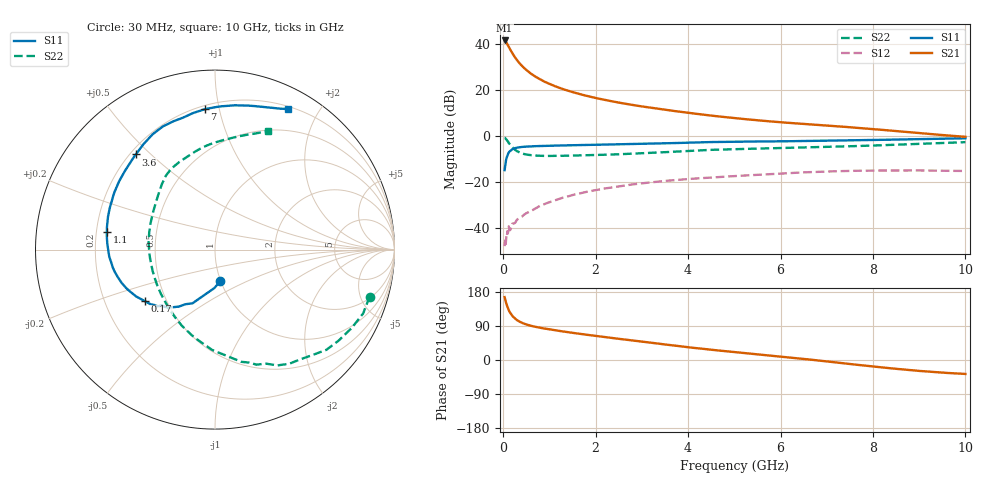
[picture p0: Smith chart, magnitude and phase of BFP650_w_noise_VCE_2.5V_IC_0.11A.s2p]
! Infineon Technologies  Discrete & RF Semiconductors
! BFP650
! VCE =  2.5 V,  IC = 0.11 A
! Common Emitter S-Parameters:  Jan 2016
# GHz  S  MA  R  50
!  f  S11  S21  S12  S22
! GHz  MAG  ANG  MAG  ANG  MAG  ANG  MAG  ANG
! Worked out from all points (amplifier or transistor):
!   229 points, 30 MHz to 10 GHz, reference 50 ohm
!   highest |S21| = 41.4 dB at 30 MHz (marker M1)
!   |S21| within 3 dB of that: start of sweep to 125.8 MHz
!   unconditionally stable (mu >= 1): 1.216 GHz to end of sweep
!   at 280 MHz: K = 0.69, MSG = 35.2 dB, |S12| = -37.0 dB
!   at 1.78 GHz: K = 1.02, MAG = 20.0 dB, |S12| = -24.5 dB
!   at 10 GHz: K = 1.03, MAG = 6.4 dB, |S12| = -15.3 dB
!   lowest NFmin = 1.51 dB at 450 MHz
!   S11 on the Smith chart (normalised r, x): 30 MHz: 1.00, -0.36; 170 MHz: 0.38, -0.28; 1.1 GHz: 0.24, +0.08; 3.6 GHz: 0.22, +0.45; 7 GHz: 0.22, +0.91; 10 GHz: 0.23, +1.62
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0.03  0.1789 -80.3  117.6 165.9  0.004 84.6  0.9005 -16.9
0.04  0.2147 -91.1  116 160.9  0.0053 87.8  0.8989 -23.3
0.05  0.2514 -101.5  112.1 156.0  0.004 83.3  0.8778 -29.9
0.08  0.3464 -118.5  101.7 143.9  0.0065 59.3  0.8021 -46.9
0.1  0.3953 -125.8  93.62 137.2  0.0077 68.2  0.759 -56.9
0.13  0.4496 -135.4  81.76 128.9  0.0091 69.2  0.6819 -70.1
0.17  0.4851 -143.7  69.39 121.5  0.0103 60.7  0.6041 -82.3
0.2  0.5112 -149.3  61.33 115.8  0.0124 62.6  0.559 -91.7
0.26  0.5396 -156.7  49.64 108.7  0.013 62.0  0.4931 -105.4
0.32  0.5567 -162.1  41.25 103.6  0.0156 62.1  0.4515 -116.4
0.4  0.5718 -167.4  33.31 98.4  0.0174 61.7  0.417 -128.0
0.5  0.5816 -172.4  26.82 93.7  0.0208 64.0  0.3927 -139.1
0.7  0.595 -179.5  19.13 87.4  0.0265 64.4  0.3718 -154.7
1.1  0.6107 170.7  12.13 78.9  0.0389 62.6  0.3656 -173.9
1.7  0.6292 159.2  7.825 68.5  0.0572 57.6  0.3751 168.8
3.4  0.6812 132.6  3.798 42.6  0.1022 39.0  0.4349 137.2
3.6  0.6898 129.8  3.562 39.6  0.1067 36.8  0.4456 134.4
5.1  0.7459 112.0  2.367 19.7  0.1349 21.2  0.5159 116.8
6.8  0.778 96.2  1.726 -1.0  0.1648 3.6  0.5676 98.5
7  0.7846 94.1  1.673 -3.8  0.168 1.4  0.5744 96.8
8.4  0.8236 76.9  1.293 -22.1  0.1765 -14.3  0.6346 80.4
10  0.8819 62.6  0.949 -36.8  0.1721 -27.0  0.7263 65.8
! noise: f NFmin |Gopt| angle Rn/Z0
0.45  1.51  0.58  -171  0.06
0.9  1.53  0.59  -164  0.07
1.9  1.69  0.61  -149  0.1
2.4  1.78  0.59  -141  0.14
3.5  1.97  0.6  -118  0.26
